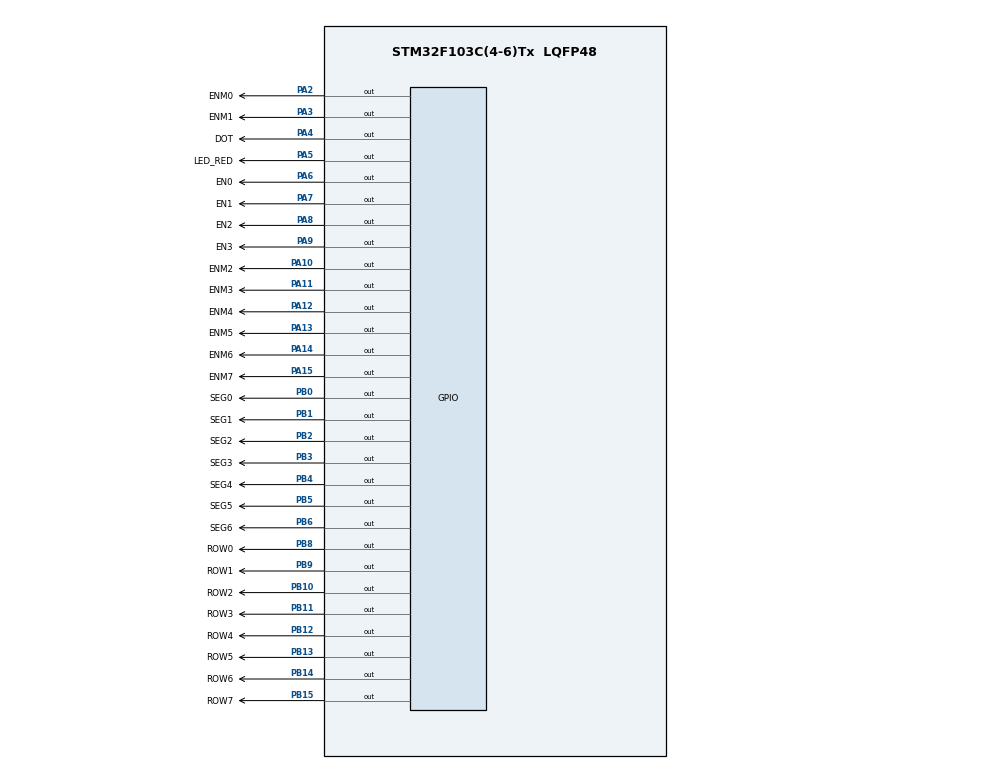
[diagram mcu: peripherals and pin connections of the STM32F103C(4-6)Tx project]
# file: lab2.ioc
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Mcu.Family=STM32F1
Mcu.Name=STM32F103C(4-6)Tx
Mcu.Package=LQFP48
NVIC.PriorityGroup=NVIC_PRIORITYGROUP_4
NVIC.TIM2_IRQn=true\:0\:0\:false\:false\:true\:true\:true\:true
PA10.GPIO_Label=ENM2
PA10.Signal=GPIO_Output
PA11.GPIO_Label=ENM3
PA11.Signal=GPIO_Output
PA12.GPIO_Label=ENM4
PA12.Signal=GPIO_Output
PA13.GPIO_Label=ENM5
PA13.Signal=GPIO_Output
PA14.GPIO_Label=ENM6
PA14.Signal=GPIO_Output
PA15.GPIO_Label=ENM7
PA15.Signal=GPIO_Output
PA2.GPIO_Label=ENM0
PA2.Signal=GPIO_Output
PA3.GPIO_Label=ENM1
PA3.Signal=GPIO_Output
PA4.GPIO_Label=DOT
PA4.Signal=GPIO_Output
PA5.GPIO_Label=LED_RED
PA5.Signal=GPIO_Output
PA6.GPIO_Label=EN0
PA6.Signal=GPIO_Output
PA7.GPIO_Label=EN1
PA7.Signal=GPIO_Output
PA8.GPIO_Label=EN2
PA8.Signal=GPIO_Output
PA9.GPIO_Label=EN3
PA9.Signal=GPIO_Output
PB0.GPIO_Label=SEG0
PB0.Signal=GPIO_Output
PB1.GPIO_Label=SEG1
PB1.Signal=GPIO_Output
PB10.GPIO_Label=ROW2
PB10.Signal=GPIO_Output
PB11.GPIO_Label=ROW3
PB11.Signal=GPIO_Output
PB12.GPIO_Label=ROW4
PB12.Signal=GPIO_Output
PB13.GPIO_Label=ROW5
PB13.Signal=GPIO_Output
PB14.GPIO_Label=ROW6
PB14.Signal=GPIO_Output
PB15.GPIO_Label=ROW7
PB15.Signal=GPIO_Output
PB2.GPIO_Label=SEG2
PB2.Signal=GPIO_Output
PB3.GPIO_Label=SEG3
PB3.Signal=GPIO_Output
PB4.GPIO_Label=SEG4
PB4.Signal=GPIO_Output
PB5.GPIO_Label=SEG5
PB5.Signal=GPIO_Output
PB6.GPIO_Label=SEG6
PB6.Signal=GPIO_Output
PB8.GPIO_Label=ROW0
PB8.Signal=GPIO_Output
PB9.GPIO_Label=ROW1
PB9.Signal=GPIO_Output
ProjectManager.HeapSize=0x200
ProjectManager.StackSize=0x400
ProjectManager.TargetToolchain=STM32CubeIDE
RCC.APB1Freq_Value=8000000
RCC.APB2Freq_Value=8000000
TIM2.Period=9
TIM2.Prescaler=7999
VP_TIM2_VS_ClockSourceINT.Mode=Internal
board=custom

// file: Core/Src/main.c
/* USER CODE BEGIN Header */
/**
  ******************************************************************************
  * @file           : main.c
  * @brief          : Main program body
  ******************************************************************************
  * @attention
  *
  * Copyright (c) 2022 STMicroelectronics.
  * All rights reserved.
  *
  * This software is licensed under terms that can be found in the LICENSE file
  * in the root directory of this software component.
  * If no LICENSE file comes with this software, it is provided AS-IS.
  *
  ******************************************************************************
  */
/* USER CODE END Header */
#include "main.h"

TIM_HandleTypeDef htim2;

void SystemClock_Config(void);
static void MX_GPIO_Init(void);
static void MX_TIM2_Init(void);
/* USER CODE BEGIN PFP */
void update7SEG(int index);
/* USER CODE END PFP */

/* USER CODE BEGIN 0 */
const int MAX_LED_MATRIX = 8;
int index_lex_matrix = 0;
unsigned int charA[]={0xFF,0x03,0x01,0xEC,0xEC,0x01,0x03,0xFF};
uint8_t matrix_buffer[8]={0x01,0x02,0x03,0x04,0x05,0x06,0x07,0x08};
int timer0_counter=0;
int timer0_flag=0;
int TIME_CYCLE = 10;
void setTimer0(int duration){
	timer0_flag=0;
	timer0_counter=duration/TIME_CYCLE;
}
void timer_run(){
	if(timer0_counter>0){
		timer0_counter--;
		if(timer0_counter<=0) timer0_flag=1;
	}
}
const int MAX_LED=4;
int index_led=0;
int led_buffer[4]={1,2,3,4};
int hour = 15, minute = 8, second = 50;
void updateClockBuffer(){
	led_buffer[0]=(int)hour/10;
	led_buffer[1]=(int)hour%10;
	led_buffer[2]=(int)minute/10;
	led_buffer[3]=(int)minute%10;
}
void updateLEDMatrix(int index){
    HAL_GPIO_WritePin(GPIOA, GPIO_PIN_2|GPIO_PIN_3|GPIO_PIN_10|GPIO_PIN_11|GPIO_PIN_12|GPIO_PIN_13|GPIO_PIN_14|GPIO_PIN_15,SET);
	HAL_GPIO_WritePin(GPIOB, GPIO_PIN_8 , (charA[index] & ( 1 << 0 )) >> 0);
	HAL_GPIO_WritePin(GPIOB, GPIO_PIN_9 , (charA[index] & ( 1 << 1 )) >> 1);
	HAL_GPIO_WritePin(GPIOB, GPIO_PIN_10, (charA[index] & ( 1 << 2 )) >> 2);
	HAL_GPIO_WritePin(GPIOB, GPIO_PIN_11, (charA[index] & ( 1 << 3 )) >> 3);
	HAL_GPIO_WritePin(GPIOB, GPIO_PIN_12, (charA[index] & ( 1 << 4 )) >> 4);
	HAL_GPIO_WritePin(GPIOB, GPIO_PIN_13, (charA[index] & ( 1 << 5 )) >> 5);
	HAL_GPIO_WritePin(GPIOB, GPIO_PIN_14, (charA[index] & ( 1 << 6 )) >> 6);
	HAL_GPIO_WritePin(GPIOB, GPIO_PIN_15, (charA[index] & ( 1 << 7 )) >> 7);
	switch(index){
	case 0:
		HAL_GPIO_WritePin(GPIOA,GPIO_PIN_2,RESET);
		break;
	case 1:
		HAL_GPIO_WritePin(GPIOA,GPIO_PIN_3,RESET);
		break;
	case 2:
		HAL_GPIO_WritePin(GPIOA,GPIO_PIN_10,RESET);
		break;
	case 3:
		HAL_GPIO_WritePin(GPIOA,GPIO_PIN_11,RESET);
		break;
	case 4:
		HAL_GPIO_WritePin(GPIOA,GPIO_PIN_12,RESET);
		break;
	case 5:
		HAL_GPIO_WritePin(GPIOA,GPIO_PIN_13,RESET);
		break;
	case 6:
		HAL_GPIO_WritePin(GPIOA,GPIO_PIN_14,RESET);
		break;
	case 7:
		HAL_GPIO_WritePin(GPIOA,GPIO_PIN_15,RESET);
		break;
	default:
		break;
	}
}
void display7seg(int count){
	if(count==0){
		HAL_GPIO_WritePin(SEG0_GPIO_Port, SEG0_Pin, GPIO_PIN_RESET);
		HAL_GPIO_WritePin(SEG1_GPIO_Port, SEG1_Pin, GPIO_PIN_RESET);
		HAL_GPIO_WritePin(SEG2_GPIO_Port, SEG2_Pin, GPIO_PIN_RESET);
		HAL_GPIO_WritePin(SEG3_GPIO_Port, SEG3_Pin, GPIO_PIN_RESET);
		HAL_GPIO_WritePin(SEG4_GPIO_Port, SEG4_Pin, GPIO_PIN_RESET);
		HAL_GPIO_WritePin(SEG5_GPIO_Port, SEG5_Pin, GPIO_PIN_RESET);
		HAL_GPIO_WritePin(SEG6_GPIO_Port, SEG6_Pin, GPIO_PIN_SET);
	}
	if(count==1){

		HAL_GPIO_WritePin(SEG0_GPIO_Port, SEG0_Pin, GPIO_PIN_SET);
		HAL_GPIO_WritePin(SEG1_GPIO_Port, SEG1_Pin, GPIO_PIN_RESET);
		HAL_GPIO_WritePin(SEG2_GPIO_Port, SEG2_Pin, GPIO_PIN_RESET);
		HAL_GPIO_WritePin(SEG3_GPIO_Port, SEG3_Pin, GPIO_PIN_SET);
		HAL_GPIO_WritePin(SEG4_GPIO_Port, SEG4_Pin, GPIO_PIN_SET);
		HAL_GPIO_WritePin(SEG5_GPIO_Port, SEG5_Pin, GPIO_PIN_SET);
		HAL_GPIO_WritePin(SEG6_GPIO_Port, SEG6_Pin, GPIO_PIN_SET);
		}
	if(count==2){
		HAL_GPIO_WritePin(SEG0_GPIO_Port, SEG0_Pin, GPIO_PIN_RESET);
		HAL_GPIO_WritePin(SEG1_GPIO_Port, SEG1_Pin, GPIO_PIN_RESET);
		HAL_GPIO_WritePin(SEG2_GPIO_Port, SEG2_Pin, GPIO_PIN_SET);
		HAL_GPIO_WritePin(SEG3_GPIO_Port, SEG3_Pin, GPIO_PIN_RESET);
		HAL_GPIO_WritePin(SEG4_GPIO_Port, SEG4_Pin, GPIO_PIN_RESET);
		HAL_GPIO_WritePin(SEG5_GPIO_Port, SEG5_Pin, GPIO_PIN_SET);
		HAL_GPIO_WritePin(SEG6_GPIO_Port, SEG6_Pin, GPIO_PIN_RESET);
		}
	if(count==3){
		HAL_GPIO_WritePin(SEG0_GPIO_Port, SEG0_Pin, GPIO_PIN_RESET);
		HAL_GPIO_WritePin(SEG1_GPIO_Port, SEG1_Pin, GPIO_PIN_RESET);
		HAL_GPIO_WritePin(SEG2_GPIO_Port, SEG2_Pin, GPIO_PIN_RESET);
		HAL_GPIO_WritePin(SEG3_GPIO_Port, SEG3_Pin, GPIO_PIN_RESET);
		HAL_GPIO_WritePin(SEG4_GPIO_Port, SEG4_Pin, GPIO_PIN_SET);
		HAL_GPIO_WritePin(SEG5_GPIO_Port, SEG5_Pin, GPIO_PIN_SET);
		HAL_GPIO_WritePin(SEG6_GPIO_Port, SEG6_Pin, GPIO_PIN_RESET);
		}
	if(count==4){
		HAL_GPIO_WritePin(SEG0_GPIO_Port, SEG0_Pin, GPIO_PIN_SET);
		HAL_GPIO_WritePin(SEG1_GPIO_Port, SEG1_Pin, GPIO_PIN_RESET);
		HAL_GPIO_WritePin(SEG2_GPIO_Port, SEG2_Pin, GPIO_PIN_RESET);
		HAL_GPIO_WritePin(SEG3_GPIO_Port, SEG3_Pin, GPIO_PIN_SET);
		HAL_GPIO_WritePin(SEG4_GPIO_Port, SEG4_Pin, GPIO_PIN_SET);
		HAL_GPIO_WritePin(SEG5_GPIO_Port, SEG5_Pin, GPIO_PIN_RESET);
		HAL_GPIO_WritePin(SEG6_GPIO_Port, SEG6_Pin, GPIO_PIN_RESET);
				}
	if(count==5){
		HAL_GPIO_WritePin(SEG0_GPIO_Port, SEG0_Pin, GPIO_PIN_RESET);
		HAL_GPIO_WritePin(SEG1_GPIO_Port, SEG1_Pin, GPIO_PIN_SET);
		HAL_GPIO_WritePin(SEG2_GPIO_Port, SEG2_Pin, GPIO_PIN_RESET);
		HAL_GPIO_WritePin(SEG3_GPIO_Port, SEG3_Pin, GPIO_PIN_RESET);
		HAL_GPIO_WritePin(SEG4_GPIO_Port, SEG4_Pin, GPIO_PIN_SET);
		HAL_GPIO_WritePin(SEG5_GPIO_Port, SEG5_Pin, GPIO_PIN_RESET);
		HAL_GPIO_WritePin(SEG6_GPIO_Port, SEG6_Pin, GPIO_PIN_RESET);
		}
	if(count==6){
		HAL_GPIO_WritePin(SEG0_GPIO_Port, SEG0_Pin, GPIO_PIN_RESET);
		HAL_GPIO_WritePin(SEG1_GPIO_Port, SEG1_Pin, GPIO_PIN_SET);
		HAL_GPIO_WritePin(SEG2_GPIO_Port, SEG2_Pin, GPIO_PIN_RESET);
		HAL_GPIO_WritePin(SEG3_GPIO_Port, SEG3_Pin, GPIO_PIN_RESET);
		HAL_GPIO_WritePin(SEG4_GPIO_Port, SEG4_Pin, GPIO_PIN_RESET);
		HAL_GPIO_WritePin(SEG5_GPIO_Port, SEG5_Pin, GPIO_PIN_RESET);
		HAL_GPIO_WritePin(SEG6_GPIO_Port, SEG6_Pin, GPIO_PIN_RESET);
		}
	if(count==7){
		HAL_GPIO_WritePin(SEG0_GPIO_Port, SEG0_Pin, GPIO_PIN_RESET);
		HAL_GPIO_WritePin(SEG1_GPIO_Port, SEG1_Pin, GPIO_PIN_RESET);
		HAL_GPIO_WritePin(SEG2_GPIO_Port, SEG2_Pin, GPIO_PIN_RESET);
		HAL_GPIO_WritePin(SEG3_GPIO_Port, SEG3_Pin, GPIO_PIN_SET);
		HAL_GPIO_WritePin(SEG4_GPIO_Port, SEG4_Pin, GPIO_PIN_SET);
		HAL_GPIO_WritePin(SEG5_GPIO_Port, SEG5_Pin, GPIO_PIN_SET);
		HAL_GPIO_WritePin(SEG6_GPIO_Port, SEG6_Pin, GPIO_PIN_SET);
		}
	if(count==8){
		HAL_GPIO_WritePin(SEG0_GPIO_Port, SEG0_Pin, GPIO_PIN_RESET);
		HAL_GPIO_WritePin(SEG1_GPIO_Port, SEG1_Pin, GPIO_PIN_RESET);
		HAL_GPIO_WritePin(SEG2_GPIO_Port, SEG2_Pin, GPIO_PIN_RESET);
		HAL_GPIO_WritePin(SEG3_GPIO_Port, SEG3_Pin, GPIO_PIN_RESET);
		HAL_GPIO_WritePin(SEG4_GPIO_Port, SEG4_Pin, GPIO_PIN_RESET);
		HAL_GPIO_WritePin(SEG5_GPIO_Port, SEG5_Pin, GPIO_PIN_RESET);
		HAL_GPIO_WritePin(SEG6_GPIO_Port, SEG6_Pin, GPIO_PIN_RESET);
		}
	if(count==9){
		HAL_GPIO_WritePin(SEG0_GPIO_Port, SEG0_Pin, GPIO_PIN_RESET);
		HAL_GPIO_WritePin(SEG1_GPIO_Port, SEG1_Pin, GPIO_PIN_RESET);
		HAL_GPIO_WritePin(SEG2_GPIO_Port, SEG2_Pin, GPIO_PIN_RESET);
		HAL_GPIO_WritePin(SEG3_GPIO_Port, SEG3_Pin, GPIO_PIN_SET);
		HAL_GPIO_WritePin(SEG4_GPIO_Port, SEG4_Pin, GPIO_PIN_SET);
		HAL_GPIO_WritePin(SEG5_GPIO_Port, SEG5_Pin, GPIO_PIN_RESET);
		HAL_GPIO_WritePin(SEG6_GPIO_Port, SEG6_Pin, GPIO_PIN_RESET);
		}
}
/* USER CODE END 0 */

int main(void)
{

  /* MCU Configuration--------------------------------------------------------*/

  /* Reset of all peripherals, Initializes the Flash interface and the Systick. */
  HAL_Init();

  /* Configure the system clock */
  SystemClock_Config();

  /* Initialize all configured peripherals */
  MX_GPIO_Init();
  MX_TIM2_Init();
  /* USER CODE BEGIN 2 */
  HAL_TIM_Base_Start_IT(&htim2) ;
  int index=0;
  setTimer0(10);
  /* USER CODE END 2 */
  /* Infinite loop */
  /* USER CODE BEGIN WHILE */
  while (1)
  {
	  if(timer0_flag==1){
		  timer0_counter--;
		  HAL_GPIO_TogglePin(LED_RED_GPIO_Port, LED_RED_Pin);
		  updateLEDMatrix(index);
		  index++;
		  if(index>=8) index=0;
		  setTimer0(10);
	  }

    /* USER CODE END WHILE */

}
}
void SystemClock_Config(void)
{
  RCC_OscInitTypeDef RCC_OscInitStruct = {0};
  RCC_ClkInitTypeDef RCC_ClkInitStruct = {0};

  /** Initializes the RCC Oscillators according to the specified parameters
  * in the RCC_OscInitTypeDef structure.
  */
  RCC_OscInitStruct.OscillatorType = RCC_OSCILLATORTYPE_HSI;
  RCC_OscInitStruct.HSIState = RCC_HSI_ON;
  RCC_OscInitStruct.HSICalibrationValue = RCC_HSICALIBRATION_DEFAULT;
  RCC_OscInitStruct.PLL.PLLState = RCC_PLL_NONE;
  if (HAL_RCC_OscConfig(&RCC_OscInitStruct) != HAL_OK)
  {
    Error_Handler();
  }

  /** Initializes the CPU, AHB and APB buses clocks
  */
  RCC_ClkInitStruct.ClockType = RCC_CLOCKTYPE_HCLK|RCC_CLOCKTYPE_SYSCLK
                              |RCC_CLOCKTYPE_PCLK1|RCC_CLOCKTYPE_PCLK2;
  RCC_ClkInitStruct.SYSCLKSource = RCC_SYSCLKSOURCE_HSI;
  RCC_ClkInitStruct.AHBCLKDivider = RCC_SYSCLK_DIV1;
  RCC_ClkInitStruct.APB1CLKDivider = RCC_HCLK_DIV1;
  RCC_ClkInitStruct.APB2CLKDivider = RCC_HCLK_DIV1;

  if (HAL_RCC_ClockConfig(&RCC_ClkInitStruct, FLASH_LATENCY_0) != HAL_OK)
  {
    Error_Handler();
  }
}

static void MX_TIM2_Init(void)
{

  TIM_ClockConfigTypeDef sClockSourceConfig = {0};
  TIM_MasterConfigTypeDef sMasterConfig = {0};

  htim2.Instance = TIM2;
  htim2.Init.Prescaler = 7999;
  htim2.Init.CounterMode = TIM_COUNTERMODE_UP;
  htim2.Init.Period = 9;
  htim2.Init.ClockDivision = TIM_CLOCKDIVISION_DIV1;
  htim2.Init.AutoReloadPreload = TIM_AUTORELOAD_PRELOAD_DISABLE;
  if (HAL_TIM_Base_Init(&htim2) != HAL_OK)
  {
    Error_Handler();
  }
  sClockSourceConfig.ClockSource = TIM_CLOCKSOURCE_INTERNAL;
  if (HAL_TIM_ConfigClockSource(&htim2, &sClockSourceConfig) != HAL_OK)
  {
    Error_Handler();
  }
  sMasterConfig.MasterOutputTrigger = TIM_TRGO_RESET;
  sMasterConfig.MasterSlaveMode = TIM_MASTERSLAVEMODE_DISABLE;
  if (HAL_TIMEx_MasterConfigSynchronization(&htim2, &sMasterConfig) != HAL_OK)
  {
    Error_Handler();
  }

}

static void MX_GPIO_Init(void)
{
  GPIO_InitTypeDef GPIO_InitStruct = {0};

  /* GPIO Ports Clock Enable */
  __HAL_RCC_GPIOA_CLK_ENABLE();
  __HAL_RCC_GPIOB_CLK_ENABLE();

  /*Configure GPIO pin Output Level */
  HAL_GPIO_WritePin(GPIOA, ENM0_Pin|ENM1_Pin|DOT_Pin|LED_RED_Pin
                          |EN0_Pin|EN1_Pin|EN2_Pin|EN3_Pin
                          |ENM2_Pin|ENM3_Pin|ENM4_Pin|ENM5_Pin
                          |ENM6_Pin|ENM7_Pin, GPIO_PIN_RESET);

  /*Configure GPIO pin Output Level */
  HAL_GPIO_WritePin(GPIOB, SEG0_Pin|SEG1_Pin|SEG2_Pin|ROW2_Pin
                          |ROW3_Pin|ROW4_Pin|ROW5_Pin|ROW6_Pin
                          |ROW7_Pin|SEG3_Pin|SEG4_Pin|SEG5_Pin
                          |SEG6_Pin|ROW0_Pin|ROW1_Pin, GPIO_PIN_RESET);

  /*Configure GPIO pins : ENM0_Pin ENM1_Pin DOT_Pin LED_RED_Pin
                           EN0_Pin EN1_Pin EN2_Pin EN3_Pin
                           ENM2_Pin ENM3_Pin ENM4_Pin ENM5_Pin
                           ENM6_Pin ENM7_Pin */
  GPIO_InitStruct.Pin = ENM0_Pin|ENM1_Pin|DOT_Pin|LED_RED_Pin
                          |EN0_Pin|EN1_Pin|EN2_Pin|EN3_Pin
                          |ENM2_Pin|ENM3_Pin|ENM4_Pin|ENM5_Pin
                          |ENM6_Pin|ENM7_Pin;
  GPIO_InitStruct.Mode = GPIO_MODE_OUTPUT_PP;
  GPIO_InitStruct.Pull = GPIO_NOPULL;
  GPIO_InitStruct.Speed = GPIO_SPEED_FREQ_LOW;
  HAL_GPIO_Init(GPIOA, &GPIO_InitStruct);

  /*Configure GPIO pins : SEG0_Pin SEG1_Pin SEG2_Pin ROW2_Pin
                           ROW3_Pin ROW4_Pin ROW5_Pin ROW6_Pin
                           ROW7_Pin SEG3_Pin SEG4_Pin SEG5_Pin
                           SEG6_Pin ROW0_Pin ROW1_Pin */
  GPIO_InitStruct.Pin = SEG0_Pin|SEG1_Pin|SEG2_Pin|ROW2_Pin
                          |ROW3_Pin|ROW4_Pin|ROW5_Pin|ROW6_Pin
                          |ROW7_Pin|SEG3_Pin|SEG4_Pin|SEG5_Pin
                          |SEG6_Pin|ROW0_Pin|ROW1_Pin;
  GPIO_InitStruct.Mode = GPIO_MODE_OUTPUT_PP;
  GPIO_InitStruct.Pull = GPIO_NOPULL;
  GPIO_InitStruct.Speed = GPIO_SPEED_FREQ_LOW;
  HAL_GPIO_Init(GPIOB, &GPIO_InitStruct);

}

/* USER CODE BEGIN 4 */

void update7SEG(int index){
	HAL_GPIO_WritePin(EN0_GPIO_Port, EN0_Pin, SET);
	HAL_GPIO_WritePin(EN1_GPIO_Port, EN1_Pin, SET);
	HAL_GPIO_WritePin(EN2_GPIO_Port, EN2_Pin, SET);
	HAL_GPIO_WritePin(EN3_GPIO_Port, EN3_Pin, SET);
	//bieu dien so lay tu buffer tren led
	display7seg(led_buffer[index]);
	switch(index){
			  case 0://display on first led
				  	 HAL_GPIO_WritePin(EN0_GPIO_Port, EN0_Pin, RESET);

				  	 break;
			  case 1://display on second led
			  		 HAL_GPIO_WritePin(EN1_GPIO_Port, EN1_Pin, RESET);

			  		 break;
			  case 2://display on third led
			  		 HAL_GPIO_WritePin(EN2_GPIO_Port, EN2_Pin, RESET);

			  		 break;
			  case 3://display on last led
			  		 HAL_GPIO_WritePin(EN3_GPIO_Port, EN3_Pin, RESET);

			  		 break;
			  default:
			  		 break;
			  }

}
void HAL_TIM_PeriodElapsedCallback ( TIM_HandleTypeDef * htim ){

timer_run();
}

/* USER CODE END 4 */

void Error_Handler(void)
{
  __disable_irq();
  while (1)
  {
  }
}
